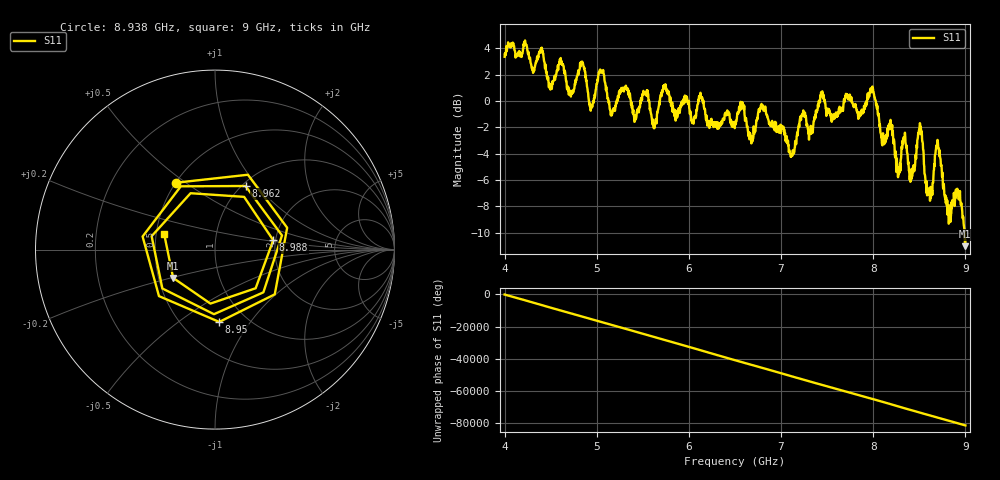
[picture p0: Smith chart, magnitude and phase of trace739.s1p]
! Created with skrf 1.8.0 (http://scikit-rf.org).
# Hz S RI R 50.0
!freq ReS11 ImS11
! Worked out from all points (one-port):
!   1601 points, 4 GHz to 9 GHz, reference 50 ohm
!   lowest |S11| = -11.0 dB at 8.997 GHz (marker M1), VSWR 1.78, Z = 29.8 - j10.2 ohm
!   |S11| at or under -10 dB: 8.990291 GHz to end of sweep
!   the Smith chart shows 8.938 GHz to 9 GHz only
!   S11 on the Smith chart (normalised r, x): 8.938 GHz: 0.50, +0.46; 8.95 GHz: 0.75, -0.72; 8.962 GHz: 1.04, +0.87; 8.988 GHz: 1.94, +0.23; 9 GHz: 0.55, +0.11
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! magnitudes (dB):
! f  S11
! 4 GHz  3.4
! 4.625 GHz  2.8
! 4.722 GHz  0.7
! 4.85 GHz  2.8
! 4.941 GHz  -0.5
! 5.044 GHz  2.2
! 5.162 GHz  -1.1
! 5.25 GHz  0.5
! 5.875 GHz  -1.2
! 6.5 GHz  -1.8
! 6.806 GHz  -0.6
! 7.125 GHz  -3.9
! 7.434 GHz  0.7
! 7.75 GHz  0.3
! 7.988 GHz  1.0
! 8.106 GHz  -2.4
! 8.375 GHz  -4.4
! 8.422 GHz  -5.7
! 8.509 GHz  -1.7
! 8.603 GHz  -6.8
! 8.697 GHz  -3.0
! 8.822 GHz  -9.3
! 8.938 GHz  -7.3
! 8.95 GHz  -7.9
! 8.962 GHz  -8.1
! 8.988 GHz  -9.7
! 8.997 GHz  -11.0
! 9 GHz  -10.6
